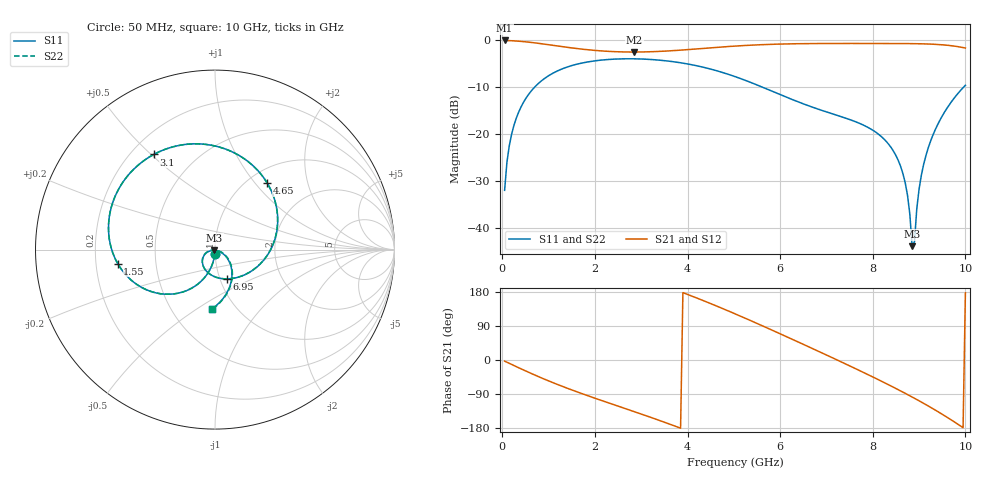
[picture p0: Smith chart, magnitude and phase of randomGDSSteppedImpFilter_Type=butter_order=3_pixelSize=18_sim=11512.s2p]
! freq	dB(S11)	phase(S11)	dB(S12)	phase(S12)
!  dB(S21)	phase(S21)	dB(S22)	phase(S22)
!S-par simulation data
#  GHz  S  DB  R 50
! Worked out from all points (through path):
!   200 points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, 50 MHz to 10 GHz, reference 50 ohm
!   highest |S21| = -0.01 dB at 50 MHz (marker M1); lowest = -2.5 dB at 2.85 GHz (marker M2)
!   group delay of S21, straight-line fit = 144 ps
!   lowest |S11| = -43.9 dB at 8.85 GHz (marker M3), VSWR 1.01, Z = 49.6 - j0.451 ohm
!   |S11| at or under -10 dB: start of sweep to 696.1 MHz; 5.622 GHz to 9.959 GHz (4.337 GHz wide, 55.7 % of centre)
!   |S22| runs from -46.9 to -3.9 dB; largest |S21 - S12| = 0
!   S11 on the Smith chart (normalised r, x): 50 MHz: 1.00, -0.05; 1.55 GHz: 0.29, -0.07; 3.1 GHz: 0.29, +0.51; 4.65 GHz: 1.21, +1.16; 6.95 GHz: 1.08, -0.36; 10 GHz: 0.78, -0.58
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0.05  -32.02 -93.1  -0.01 -2.9  -0.01 -2.9  -32.02 -93.1
0.2  -20.08 -102.2  -0.06 -11.7  -0.06 -11.7  -20.08 -102.2
0.45  -13.35 -116.5  -0.24 -25.9  -0.24 -25.9  -13.35 -116.5
1.55  -5.23 -171.8  -1.66 -81.2  -1.66 -81.2  -5.23 -171.8
1.75  -4.77 179.3  -1.89 -90.1  -1.89 -90.1  -4.77 179.4
2.85  -3.93 133.2  -2.48 -136.3  -2.48 -136.3  -3.93 133.3
3.1  -4.01 122.7  -2.45 -146.8  -2.45 -146.8  -4.01 122.8
3.4  -4.22 109.9  -2.34 -159.8  -2.34 -159.8  -4.22 110.0
4.65  -6.53 51.9  -1.47 141.3  -1.47 141.3  -6.53 52.1
5.05  -7.81 31.7  -1.19 120.6  -1.19 120.6  -7.81 32.0
5.85  -10.94 -9.9  -0.82 77.4  -0.82 77.4  -10.94 -9.6
6.7  -14.27 -54.9  -0.67 30.1  -0.67 30.1  -14.27 -54.7
6.95  -15.11 -68.3  -0.65 16.0  -0.65 16.0  -15.11 -68.3
7.65  -17.45 -107.2  -0.65 -24.1  -0.65 -24.1  -17.47 -107.7
8.35  -22.26 -147.8  -0.65 -65.9  -0.65 -65.9  -22.30 -149.4
8.7  -30.38 -165.0  -0.67 -87.9  -0.67 -87.9  -30.53 -169.6
8.8  -37.09 -160.6  -0.68 -94.4  -0.68 -94.4  -37.65 -170.9
8.85  -43.95 -134.1  -0.68 -97.6  -0.68 -97.6  -46.92 -153.6
8.9  -43.01 -49.8  -0.69 -101.0  -0.69 -101.0  -44.62 -28.7
9  -31.74 -24.7  -0.71 -107.7  -0.71 -107.7  -31.78 -18.8
9.2  -22.89 -32.3  -0.76 -121.4  -0.76 -121.4  -22.88 -30.0
10  -9.58 -93.2  -1.63 177.2  -1.63 177.2  -9.57 -92.7
